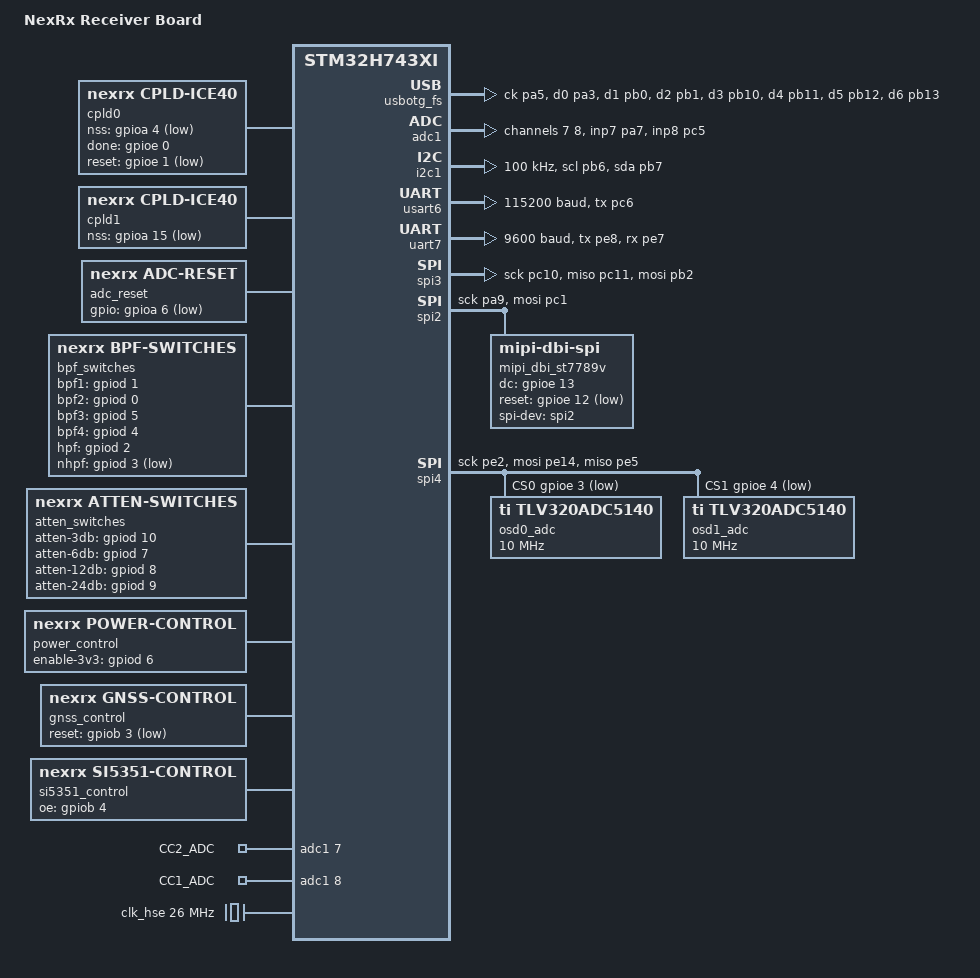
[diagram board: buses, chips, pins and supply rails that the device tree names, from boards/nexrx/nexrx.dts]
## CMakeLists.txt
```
# NexRx STM32H743VIT6 Firmware
# Using Zephyr RTOS with C++20

cmake_minimum_required(VERSION 3.20.0)

list(APPEND BOARD_ROOT ${CMAKE_CURRENT_SOURCE_DIR})

find_package(Zephyr REQUIRED HINTS $ENV{ZEPHYR_BASE})
project(NexRxFW)

# Enable C++20
set(CMAKE_CXX_STANDARD 20)
set(CMAKE_CXX_STANDARD_REQUIRED ON)

# Source files
target_sources(app PRIVATE 
    src/main.cpp
    src/AGCManager.cpp
    src/Si5351Driver.cpp
    src/CPLDDriver.cpp
    src/TLV320ADC5140.cpp
    src/DisplayManager.cpp
    src/FrontEndDriver.cpp
    src/USBManager.cpp
    src/OSDCapture.cpp
    src/ControlHandler.cpp
    src/USBCDCTransport.cpp
)

# Include directories
target_include_directories(app PRIVATE src)
```

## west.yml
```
manifest:
  remotes:
    - name: zephyrproject-rtos
      url-base: https://github.com/zephyrproject-rtos
  projects:
    - name: zephyr
      remote: zephyrproject-rtos
      revision: v4.4.0
      import: true
  self:
    path: fw
```

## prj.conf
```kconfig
# NexRx Project Configuration (Zephyr v4.1 / STM32H743VIT6)

# General C++ Support
CONFIG_CPP=y
CONFIG_STD_CPP20=y
CONFIG_EXTERNAL_LIBCPP=y
CONFIG_NEWLIB_LIBC=y

# Power Management & Boot
CONFIG_REBOOT=y

# Peripherals
CONFIG_GPIO=y
CONFIG_SPI=y
CONFIG_I2C=y
CONFIG_ADC=y
CONFIG_I2S=y
CONFIG_DMA=y
CONFIG_SERIAL=y
CONFIG_UART_INTERRUPT_DRIVEN=y
CONFIG_NET_BUF=y
CONFIG_USB_DEVICE_STACK_NEXT=y

# Display Support
CONFIG_DISPLAY=y
CONFIG_MIPI_DBI=y
CONFIG_ST7789V=y

# Logging & Debug
CONFIG_LOG=y
CONFIG_LOG_BUFFER_SIZE=4096
CONFIG_LOG_BACKEND_SHOW_COLOR=y
CONFIG_LOG_BACKEND_UART=y
CONFIG_LOG_PRINTK=y

# CBOR Support
CONFIG_ZCBOR=y

# Shell
CONFIG_SHELL=y
CONFIG_SHELL_BACKEND_SERIAL=y
CONFIG_SHELL_BACKEND_SERIAL_INTERRUPT_DRIVEN=y
CONFIG_SHELL_PROMPT_UART="NexRx> "
```

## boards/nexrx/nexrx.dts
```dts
/dts-v1/;
#include <st/h7/stm32h743Xi.dtsi>
#include <st/h7/stm32h743vitx-pinctrl.dtsi>
#include <zephyr/dt-bindings/mipi_dbi/mipi_dbi.h>

/ {
	model = "NexRx Receiver Board";
	compatible = "nexrx,nexrx-rx";

	chosen {
		zephyr,sram = &sram0;
		zephyr,flash = &flash0;
		zephyr,dtcm = &dtcm;
		zephyr,console = &usart6;
		zephyr,shell-uart = &usart6;
		zephyr,display = &st7789v;
		zephyr,udc0 = &usbotg_fs;
	};

	cpld0: cpld0 {
		compatible = "nexrx,cpld-ice40";
		nss-gpios = <&gpioa 4 GPIO_ACTIVE_LOW>;
		done-gpios = <&gpioe 0 GPIO_ACTIVE_HIGH>;
		reset-gpios = <&gpioe 1 GPIO_ACTIVE_LOW>;
		status = "okay";
	};

	cpld1: cpld1 {
		compatible = "nexrx,cpld-ice40";
		nss-gpios = <&gpioa 15 GPIO_ACTIVE_LOW>;
		status = "okay";
	};

	adc_reset: adc_reset {
		compatible = "nexrx,adc-reset";
		gpios = <&gpioa 6 GPIO_ACTIVE_LOW>;
		status = "okay";
	};

	bpf_switches: bpf_switches {
		compatible = "nexrx,bpf-switches";
		bpf1-gpios = <&gpiod 1 GPIO_ACTIVE_HIGH>;
		bpf2-gpios = <&gpiod 0 GPIO_ACTIVE_HIGH>;
		bpf3-gpios = <&gpiod 5 GPIO_ACTIVE_HIGH>;
		bpf4-gpios = <&gpiod 4 GPIO_ACTIVE_HIGH>;
		hpf-gpios = <&gpiod 2 GPIO_ACTIVE_HIGH>;
		nhpf-gpios = <&gpiod 3 GPIO_ACTIVE_LOW>;
		status = "okay";
	};

	atten_switches: atten_switches {
		compatible = "nexrx,atten-switches";
		atten-3db-gpios = <&gpiod 10 GPIO_ACTIVE_HIGH>;
		atten-6db-gpios = <&gpiod 7 GPIO_ACTIVE_HIGH>;
		atten-12db-gpios = <&gpiod 8 GPIO_ACTIVE_HIGH>;
		atten-24db-gpios = <&gpiod 9 GPIO_ACTIVE_HIGH>;
		status = "okay";
	};

	power_control: power_control {
		compatible = "nexrx,power-control";
		enable-3v3-gpios = <&gpiod 6 GPIO_ACTIVE_HIGH>;
		status = "okay";
	};

	status_leds: status_leds {
		compatible = "nexrx,status-leds";
		red-gpios = <&gpiob 9 GPIO_ACTIVE_LOW>;
		green-gpios = <&gpiob 8 GPIO_ACTIVE_LOW>;
		blue-gpios = <&gpioe 6 GPIO_ACTIVE_LOW>;
		status = "okay";
	};

	gnss_control: gnss_control {
		compatible = "nexrx,gnss-control";
		reset-gpios = <&gpiob 3 GPIO_ACTIVE_LOW>;
		status = "okay";
	};

	si5351_control: si5351_control {
		compatible = "nexrx,si5351-control";
		oe-gpios = <&gpiob 4 GPIO_ACTIVE_HIGH>;
		status = "okay";
	};

	zephyr,user {
		/* USB-C CC Monitor ADC Channels */
		io-channels = <&adc1 7>, <&adc1 8>;
		io-channel-names = "CC2_ADC", "CC1_ADC";
	};
};


&usbotg_fs {
	status = "okay";

	pinctrl-0 = <&usb_otg_hs_ulpi_ck_pa5 &usb_otg_hs_ulpi_d0_pa3
		     &usb_otg_hs_ulpi_d1_pb0 &usb_otg_hs_ulpi_d2_pb1
		     &usb_otg_hs_ulpi_d3_pb10 &usb_otg_hs_ulpi_d4_pb11
		     &usb_otg_hs_ulpi_d5_pb12 &usb_otg_hs_ulpi_d6_pb13
		     &usb_otg_hs_ulpi_d7_pb5 &usb_otg_hs_ulpi_dir_pc2_c
		     &usb_otg_hs_ulpi_nxt_pc3_c &usb_otg_hs_ulpi_stp_pc0>;
	pinctrl-names = "default";



	usb_device_0: usb_device_0 {
		compatible = "zephyr,usb-device";
		status = "okay";

		cdc_acm_uart0: cdc_acm_uart0 {
			compatible = "zephyr,cdc-acm-uart";
			label = "CDC_ACM_0";
		};

		cdc_acm_uart1: cdc_acm_uart1 {
			compatible = "zephyr,cdc-acm-uart";
			label = "CDC_ACM_1";
		};

		iq_data_pump: iq_data_pump {
			compatible = "zephyr,usb-vendor-bulk";
			status = "okay";
		};
	};
};

&adc1 {
	pinctrl-0 = <&adc1_inp7_pa7 &adc1_inp8_pc5>;
	pinctrl-names = "default";
	st,adc-clock-source = "SYNC";
	st,adc-prescaler = <4>;
	status = "okay";
	#address-cells = <1>;
	#size-cells = <0>;


	channel@7 {
		reg = <7>;
		zephyr,gain = "ADC_GAIN_1";
		zephyr,reference = "ADC_REF_INTERNAL";
		zephyr,acquisition-time = <ADC_ACQ_TIME_DEFAULT>;
		zephyr,resolution = <12>;
	};
	channel@8 {
		reg = <8>;
		zephyr,gain = "ADC_GAIN_1";
		zephyr,reference = "ADC_REF_INTERNAL";
		zephyr,acquisition-time = <ADC_ACQ_TIME_DEFAULT>;
		zephyr,resolution = <12>;
	};
};

&i2c1 {
	pinctrl-0 = <&i2c1_scl_pb6 &i2c1_sda_pb7>;
	pinctrl-names = "default";
	status = "okay";
	clock-frequency = <I2C_BITRATE_STANDARD>;
};

&clk_hse {
	clock-frequency = <DT_FREQ_M(26)>;
	status = "okay";
};

&pll {
	div-m = <13>;
	mul-n = <400>;
	div-p = <2>;
	div-q = <2>;
	div-r = <2>;
	clocks = <&clk_hse>;
	status = "okay";
};

&rcc {
	clocks = <&pll>;
	clock-frequency = <DT_FREQ_M(400)>;
	d1cpre = <1>;
	hpre = <2>;
	d1ppre = <2>;
	d2ppre2 = <2>;
	d2ppre1 = <2>;
	d3ppre = <2>;
};

&usart6 {
	pinctrl-0 = <&usart6_tx_pc6>;
	pinctrl-names = "default";
	current-speed = <115200>;
	status = "okay";
};

&uart7 {
	pinctrl-0 = <&uart7_tx_pe8 &uart7_rx_pe7>;
	pinctrl-names = "default";
	current-speed = <9600>;
	status = "okay";
};


&spi3 {
	pinctrl-0 = <&spi3_sck_pc10 &spi3_miso_pc11 &spi3_mosi_pb2>;
	pinctrl-names = "default";
	cs-gpios = <&gpioa 4 GPIO_ACTIVE_LOW>, <&gpioa 15 GPIO_ACTIVE_LOW>;
	status = "okay";
};

&spi2 {
	pinctrl-0 = <&spi2_sck_pa9 &spi2_mosi_pc1>;
	pinctrl-names = "default";
	cs-gpios = <&gpioa 11 GPIO_ACTIVE_LOW>;
	status = "okay";

	mipi_dbi_st7789v {
		compatible = "zephyr,mipi-dbi-spi";
		spi-dev = <&spi2>;
		dc-gpios = <&gpioe 13 GPIO_ACTIVE_HIGH>;
		reset-gpios = <&gpioe 12 GPIO_ACTIVE_LOW>;
		write-only;
		#address-cells = <1>;
		#size-cells = <0>;

		st7789v: st7789v@0 {
			compatible = "sitronix,st7789v";
			mipi-max-frequency = <32000000>;
			reg = <0>;
			width = <240>;
			height = <135>;
			x-offset = <0>;
			y-offset = <40>;
			vcom = <0x19>;
			gctrl = <0x35>;
			vrhs = <0x12>;
			vdvs = <0x20>;
			mdac = <0x00>;
			gamma = <0x01>;
			colmod = <0x05>;
			lcm = <0x2c>;
			porch-param = [0c 0c 00 33 33];
			cmd2en-param = [33 06 04];
			pwctrl1-param = [a4 a1];
			pvgam-param = [d0 04 0d 11 13 2b 3f 54 4c 18 0d 0b 1f 23];
			nvgam-param = [d0 04 0c 11 13 2c 3f 44 51 2f 1f 1f 20 23];
			ram-param = [00 f0];
			rgb-param = [cd 08 14];
			mipi-mode = "MIPI_DBI_MODE_SPI_4WIRE";
		};
	};
};

&spi4 {
	pinctrl-0 = <&spi4_sck_pe2 &spi4_mosi_pe14 &spi4_miso_pe5>;
	pinctrl-names = "default";
	cs-gpios = <&gpioe 3 GPIO_ACTIVE_LOW>, <&gpioe 4 GPIO_ACTIVE_LOW>;
	status = "okay";

	osd0_adc: tlv320adc5140@0 {
		compatible = "ti,tlv320adc5140";
		reg = <0>;
		spi-max-frequency = <10000000>;
	};

	osd1_adc: tlv320adc5140@1 {
		compatible = "ti,tlv320adc5140";
		reg = <1>;
		spi-max-frequency = <10000000>;
	};
};

&pwr {
	power-supply = "ldo";
};
```

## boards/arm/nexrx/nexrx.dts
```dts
/dts-v1/;
#include <st/h7/stm32h753Xi.dtsi>
#include <st/h7/stm32h753v(i-g)tx-pinctrl.dtsi>

/ {
	model = "NexRx Receiver Board";
	compatible = "nexrx,nexrx-rx";

	chosen {
		zephyr,sram = &sram0;
		zephyr,flash = &flash0;
		zephyr,dtcm = &dtcm;
		zephyr,console = &usart6;
		zephyr,shell-uart = &usart6;
		zephyr,display = &st7789v;
	};

	leds {
		compatible = "gpio-leds";
		pwr_3v3: pwr_3v3 {
			gpios = <&gpiod 6 GPIO_ACTIVE_HIGH>;
			label = "3.3V Digital Enable";
		};
		pwr_3va: pwr_3va {
			gpios = <&gpiod 7 GPIO_ACTIVE_HIGH>;
			label = "3.3V Analog Enable";
		};
		pwr_5va: pwr_5va {
			gpios = <&gpiod 8 GPIO_ACTIVE_HIGH>;
			label = "5V Analog Enable";
		};
		pwr_fpgacore: pwr_fpgacore {
			gpios = <&gpiod 9 GPIO_ACTIVE_HIGH>;
			label = "FPGA VCORE Enable";
		};
	};

	nexbus {
		compatible = "nexrx,nexbus";
		pinctrl-0 = <&tim3_ch1_pc6>;
		pinctrl-1 = <&usart6_tx_pc6>;
		pinctrl-names = "mode_a", "mode_b";
		status = "okay";
	};

	fpga {
		compatible = "nexrx,fpga-ice40";
		prog-gpios = <&gpioe 1 GPIO_ACTIVE_LOW>;
		done-gpios = <&gpioe 0 GPIO_ACTIVE_HIGH>;
		nss-gpios = <&gpioa 4 GPIO_ACTIVE_LOW>;
		status = "okay";
	};

	codec {
		compatible = "nexrx,ak5578";
		reset-gpios = <&gpioa 6 GPIO_ACTIVE_LOW>;
		status = "okay";
	};

	zephyr,user {
		/* USB-C CC Monitor ADC Channels */
		io-channels = <&adc1 7>, <&adc1 8>;
		io-channel-names = "CC2_ADC", "CC1_ADC";
	};
};

&zephyr_udc0 {
	status = "okay";
	pinctrl-0 = <&otg_hs_ulpi_ck_pa5 &otg_hs_ulpi_d0_pa3
		     &otg_hs_ulpi_d1_pb0 &otg_hs_ulpi_d2_pb1
		     &otg_hs_ulpi_d3_pb10 &otg_hs_ulpi_d4_pb11
		     &otg_hs_ulpi_d5_pb12 &otg_hs_ulpi_d6_pb13
		     &otg_hs_ulpi_d7_pb5 &otg_hs_ulpi_dir_pc2
		     &otg_hs_ulpi_nxt_pc3 &otg_hs_ulpi_stp_pc0>;
	pinctrl-names = "default";

	usb_device_0: usb_device_0 {
		compatible = "zephyr,usb-device";
		status = "okay";

		cdc_acm_uart0: cdc_acm_uart0 {
			compatible = "zephyr,cdc-acm-uart";
			label = "CDC_ACM_0";
		};

		cdc_acm_uart1: cdc_acm_uart1 {
			compatible = "zephyr,cdc-acm-uart";
			label = "CDC_ACM_1";
		};

		iq_data_pump: iq_data_pump {
			compatible = "zephyr,usb-vendor-bulk";
			status = "okay";
		};
	};
};

&adc1 {
	pinctrl-0 = <&adc1_inp7_pa7 &adc1_inp8_pc5>;
	pinctrl-names = "default";
	status = "okay";
	#address-cells = <1>;
	#size-cells = <0>;
	channel@7 {
		reg = <7>;
		zephyr,gain = "ADC_GAIN_1";
		zephyr,reference = "ADC_REF_INTERNAL";
		zephyr,acquisition-time = <ADC_ACQ_TIME_DEFAULT>;
		zephyr,resolution = <12>;
	};
	channel@8 {
		reg = <8>;
		zephyr,gain = "ADC_GAIN_1";
		zephyr,reference = "ADC_REF_INTERNAL";
		zephyr,acquisition-time = <ADC_ACQ_TIME_DEFAULT>;
		zephyr,resolution = <12>;
	};
};

&i2c4 {
	pinctrl-0 = <&i2c4_scl_pd12 &i2c4_sda_pd13>;
	pinctrl-names = "default";
	status = "okay";
	clock-frequency = <I2C_BITRATE_STANDARD>;
};

&clk_hse {
	clock-frequency = <DT_FREQ_M(26)>;
	status = "okay";
};

&pll {
	div-m = <13>;
	mul-n = <400>;
	div-p = <2>;
	div-q = <2>;
	div-r = <2>;
	clocks = <&clk_hse>;
	status = "okay";
};

&rcc {
	clocks = <&pll>;
	clock-frequency = <DT_FREQ_M(400)>;
	d1cpre = <1>;
	hpre = <2>;
	d1ppre = <2>;
	d2ppre2 = <2>;
	d2ppre1 = <2>;
	d3ppre = <2>;
};

&usart6 {
	pinctrl-0 = <&usart6_tx_pc6>;
	pinctrl-names = "default";
	current-speed = <115200>;
	status = "okay";
};

&tim3 {
	status = "okay";
	st,prescaler = <0>;
	pinctrl-0 = <&tim3_ch1_pc6>;
	pinctrl-names = "default";
	dmas = <&dma1 0 22 0x440>; 
	dma-names = "ch1";
	pwm1: pwm {
		status = "okay";
		st,prescaler = <0>;
	};
};

&spi3 {
	pinctrl-0 = <&spi3_sck_pc10 &spi3_miso_pc11 &spi3_mosi_pb2>;
	pinctrl-names = "default";
	status = "okay";
};

&spi2 {
	pinctrl-0 = <&spi2_sck_pa9 &spi2_mosi_pc1>;
	pinctrl-names = "default";
	cs-gpios = <&gpioa 11 GPIO_ACTIVE_LOW>;
	status = "okay";

	st7789v: st7789v@0 {
		compatible = "sitronix,st7789v";
		reg = <0>;
		spi-max-frequency = <32000000>;
		reset-gpios = <&gpioe 12 GPIO_ACTIVE_LOW>;
		dc-gpios = <&gpioe 13 GPIO_ACTIVE_LOW>;
		width = <240>;
		height = <135>;
		x-offset = <0>;
		y-offset = <40>;
		vcom = <0x19>;
		gctrl = <0x35>;
		vrhs = <0x12>;
		vdvs = <0x20>;
		mdac = <0x00>;
		gamma = <0x01>;
		colmod = <0x05>;
		lcm = <0x2c>;
		porch-param = [0c 0c 00 33 33];
		cmd2en-param = [33 06 04];
		pwctrl1-param = [a4 a1];
		pvgam-param = [d0 04 0d 11 13 2b 3f 54 4c 18 0d 0b 1f 23];
		nvgam-param = [d0 04 0c 11 13 2c 3f 44 51 2f 1f 1f 20 23];
		ram-param = [00 f0];
		rgb-param = [cd 08 14];
	};
};

&spi4 {
	pinctrl-0 = <&spi4_sck_pe2 &spi4_mosi_pe14>;
	pinctrl-names = "default";
	cs-gpios = <&gpioe 4 GPIO_ACTIVE_LOW>;
	status = "okay";
};

&sai3 {
	status = "okay";
	pinctrl-0 = <&sai3_a_mclk_pd15 &sai3_a_sck_pd0 
		     &sai3_a_fs_pd4 &sai3_a_sd_pd1>;
	pinctrl-names = "default";
	sai3_a: sai3_a {
		status = "okay";
		st,sync-type = "master";
		dmas = <&dma1 1 89 0x440>; 
		dma-names = "rx";
	};
};

&sai2 {
	status = "okay";
	pinctrl-0 = <&sai2_a_sd_pd11 &sai2_b_sd_pa0>;
	pinctrl-names = "default";
	sai2_a: sai2_a {
		status = "okay";
		st,sync-type = "slave";
		st,sync-source = <&sai3_a>;
		dmas = <&dma1 2 87 0x440>; 
		dma-names = "rx";
	};
	sai2_b: sai2_b {
		status = "okay";
		st,sync-type = "slave";
		st,sync-source = <&sai3_a>;
		dmas = <&dma1 3 88 0x440>; 
		dma-names = "rx";
	};
};

&sai4 {
	status = "okay";
	pinctrl-0 = <&sai4_a_sd_pe6>;
	pinctrl-names = "default";
	sai4_a: sai4_a {
		status = "okay";
		st,sync-type = "slave";
		st,sync-source = <&sai3_a>;
		dmas = <&dma1 4 102 0x440>; 
		dma-names = "rx";
	};
};
```

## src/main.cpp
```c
#include <zephyr/kernel.h>
#include <zephyr/logging/log.h>

#include "FrontEndDriver.hpp"
#include "Si5351Driver.hpp"
#include "CPLDDriver.hpp"
#include "TLV320ADC5140.hpp"
#include "DisplayManager.hpp"
#include "USBManager.hpp"
#include "OSDCapture.hpp"
#include "ControlHandler.hpp"
#include "USBCDCTransport.hpp"

LOG_MODULE_REGISTER(nexrx_main, LOG_LEVEL_INF);

int main() {
  /* 1. Initialize USB Connectivity First for Logging */
  nexrx::USBManager::init();
  LOG_INF("NexRx MCU Firmware Starting (STM32H743VIT6 / STM32H753VIT6)...");

  /* 2. Initialize Display Early for Status Feedback */
  nexrx::DisplayManager::init();
  nexrx::DisplayManager::showStatus("BOOTING...");

  /* 3. Initialize Front-End Switches (Attenuators, BPF, 3.3V Power) */
  nexrx::FrontEndDriver::init();

  /* 4. Initialize Synthesizer and Dual CPLDs */
  nexrx::Si5351Driver::init();
  nexrx::CPLDDriver::init();

  /* 5. Configure Dual TLV320ADC5140 Audio ADCs with Integrated PGAs */
  nexrx::TLV320ADC5140::init();

  /* 6. Initialize OSD Audio DMA Data Capture & DSP Engine */
  nexrx::OSDCapture::init();

  /* 7. Initialize Control Plane Transport */
  static nexrx::USBCDCTransport controlTransport;
  controlTransport.init();

  LOG_INF("System Initialization Complete. Automatic power hardware ready.");
  if (nexrx::CPLDDriver::isConfigured()) {
    nexrx::DisplayManager::showStatus("READY");
  } else {
    nexrx::DisplayManager::showStatus("WAIT CPLD");
  }

  while (true) {
    /* Process incoming control messages */
    nexrx::ControlHandler::instance().process(controlTransport);
    k_sleep(K_MSEC(10));
  }

  return 0;
}
```

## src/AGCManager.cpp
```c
#include "AGCManager.hpp"
#include <zephyr/logging/log.h>
#include <cmath>
#include <algorithm>
#include "TLV320ADC5140.hpp"
#include "FrontEndDriver.hpp"

LOG_MODULE_DECLARE(nexrx_main, LOG_LEVEL_INF);

namespace nexrx {

AGCManager::Mode AGCManager::currentMode = Mode::MANUAL;
float AGCManager::targetHeadroomDB = -15.0f;
int32_t AGCManager::currentPGACode = 0;
int32_t AGCManager::currentAttenDB = 0;

/* Internal Gain State (in dB) */
static float virtualGainDB = 0.0f;
static float lastPeakDB = -100.0f;

void AGCManager::init() {
  currentMode = Mode::MANUAL;
  virtualGainDB = 20.0f; /* Start with baseline gain */
  applyHardwareGain();
}

void AGCManager::setMode(Mode mode) {
  currentMode = mode;
  LOG_INF("AGC: Mode set to %d", static_cast<int>(mode));
}

void AGCManager::processReflex(int32_t peakValue) {
  if (currentMode == Mode::MANUAL) {
    return;
  }

  /* 1. Convert peak to dBFS */
  float peakDB = 20.0f * std::log10(std::max(1, std::abs(peakValue)) / 8388607.0f);
  lastPeakDB = peakDB;

  /* 2. Calculate Error relative to target headroom */
  float error = peakDB - targetHeadroomDB;

  /* 3. Apply Attack/Decay Timing */
  if (error > 0) {
    /* ATTACK: Drop gain fast */
    virtualGainDB -= error * 0.5f; 
  } else {
    /* DECAY: Increase gain slowly based on mode */
    float decayFactor = 0.001f;
    if (currentMode == Mode::FAST) {
      decayFactor = 0.05f;
    }
    if (currentMode == Mode::MEDIUM) {
      decayFactor = 0.01f;
    }
    virtualGainDB -= error * decayFactor;
  }

  /* 4. Clamp to hardware limits */
  virtualGainDB = std::clamp(virtualGainDB, 0.0f, 60.0f);

  /* 5. Update Hardware if change is significant (> 0.5 dB) */
  static float lastAppliedGain = -1.0f;
  if (std::abs(virtualGainDB - lastAppliedGain) > 0.5f) {
    setTotalGain(virtualGainDB);
    lastAppliedGain = virtualGainDB;
  }
}

void AGCManager::setTotalGain(float totalGainDB) {
  int32_t newAtten = static_cast<int32_t>(std::floor(totalGainDB / 3.0f) * 3.0f);
  newAtten = std::clamp(newAtten, 0, 45);

  int32_t newPGA = static_cast<int32_t>(totalGainDB - newAtten);
  newPGA = std::clamp(newPGA, 0, 42);

  currentAttenDB = newAtten;
  currentPGACode = newPGA;
  
  applyHardwareGain();
}

void AGCManager::applyHardwareGain() {
  FrontEndDriver::setAttenuation(currentAttenDB);
  TLV320ADC5140::setPGAGain(static_cast<uint8_t>(currentPGACode));
}

} // namespace nexrx
```

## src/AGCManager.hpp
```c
#pragma once

#include <zephyr/kernel.h>
#include <stdint.h>

namespace nexrx {

class AGCManager {
public:
  enum class Mode {
    FAST,
    MEDIUM,
    SLOW,
    MANUAL
  };

  static void init();
  static void setMode(Mode mode);
  
  /**
   * @brief High-priority reflex update.
   * Called by the QSDCapture thread after peak detection.
   * @param peakValue Maximum absolute value in the current buffer.
   */
  static void processReflex(int32_t peakValue);

  /**
   * @brief Sets total system gain in dB.
   * Internal logic coordinates attenuator pads and TLV320ADC5140 PGA gain.
   * @param totalGainDB Total gain relative to MDS.
   */
  static void setTotalGain(float totalGainDB);

private:
  static Mode currentMode;
  static float targetHeadroomDB; /* Default -15.0 dBFS */
  static int32_t currentPGACode;
  static int32_t currentAttenDB;

  static void applyHardwareGain();
};

} // namespace nexrx
```

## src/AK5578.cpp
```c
#include "AK5578.hpp"
#include <zephyr/logging/log.h>

LOG_MODULE_REGISTER(AK5578, LOG_LEVEL_INF);

namespace nexrx {

void AK5578::init() {
  LOG_INF("AK5578 8-Channel 24-bit 96kS/s Audio Codec initialized.");
}

void AK5578::reset() {
  LOG_INF("AK5578 reset performed.");
}

} // namespace nexrx
```

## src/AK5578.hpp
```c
#ifndef NEXRX_AK5578_HPP
#define NEXRX_AK5578_HPP

#include <zephyr/kernel.h>
#include <stdint.h>

namespace nexrx {

class AK5578 {
public:
  static void init();
  static void reset();
};

} // namespace nexrx

#endif // NEXRX_AK5578_HPP
```

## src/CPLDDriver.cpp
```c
#include "CPLDDriver.hpp"
#include <zephyr/logging/log.h>
#include <zephyr/drivers/gpio.h>
#include <zephyr/drivers/spi.h>

LOG_MODULE_REGISTER(cpld_driver, LOG_LEVEL_INF);

namespace nexrx {

namespace {

const struct gpio_dt_spec resetGpio = GPIO_DT_SPEC_GET_OR(DT_NODELABEL(cpld0), reset_gpios, {0});
const struct gpio_dt_spec doneGpio = GPIO_DT_SPEC_GET_OR(DT_NODELABEL(cpld0), done_gpios, {0});
const struct gpio_dt_spec nss0Gpio = GPIO_DT_SPEC_GET_OR(DT_NODELABEL(cpld0), nss_gpios, {0});
const struct gpio_dt_spec nss1Gpio = GPIO_DT_SPEC_GET_OR(DT_NODELABEL(cpld1), nss_gpios, {0});

} // namespace

const struct device* CPLDDriver::getSPIDevice() {
  static const struct device* dev = DEVICE_DT_GET(DT_NODELABEL(spi3));
  return dev;
}

int CPLDDriver::writeRegister(uint8_t addr, uint32_t data, int cpldIndex) {
  const struct device* dev = getSPIDevice();
  if (!device_is_ready(dev)) {
    return -ENODEV;
  }
  uint8_t txBuf[5] = {
    addr,
    static_cast<uint8_t>((data >> 24) & 0xFF),
    static_cast<uint8_t>((data >> 16) & 0xFF),
    static_cast<uint8_t>((data >> 8) & 0xFF),
    static_cast<uint8_t>(data & 0xFF)
  };
  struct spi_buf buf = {.buf = txBuf, .len = sizeof(txBuf)};
  struct spi_buf_set tx = {.buffers = &buf, .count = 1};

  struct spi_config config = {
    .frequency = 10000000,
    .slave = static_cast<uint16_t>((cpldIndex >= 0) ? cpldIndex : 0),
  };

  if (cpldIndex < 0) {
    // Broadcast to both CPLDs simultaneously
    if (device_is_ready(nss0Gpio.port)) gpio_pin_set_dt(&nss0Gpio, 1);
    if (device_is_ready(nss1Gpio.port)) gpio_pin_set_dt(&nss1Gpio, 1);
    int ret = spi_write(dev, &config, &tx);
    if (device_is_ready(nss0Gpio.port)) gpio_pin_set_dt(&nss0Gpio, 0);
    if (device_is_ready(nss1Gpio.port)) gpio_pin_set_dt(&nss1Gpio, 0);
    return ret;
  }

  return spi_write(dev, &config, &tx);
}

int CPLDDriver::readRegister(uint8_t addr, uint32_t &data, int cpldIndex) {
  const struct device* dev = getSPIDevice();
  if (!device_is_ready(dev)) {
    return -ENODEV;
  }
  uint8_t txBuf[5] = {static_cast<uint8_t>(addr | 0x80), 0, 0, 0, 0};
  uint8_t rxBuf[5] = {0};

  struct spi_buf txStruct = {.buf = txBuf, .len = sizeof(txBuf)};
  struct spi_buf rxStruct = {.buf = rxBuf, .len = sizeof(rxBuf)};
  struct spi_buf_set tx = {.buffers = &txStruct, .count = 1};
  struct spi_buf_set rx = {.buffers = &rxStruct, .count = 1};

  struct spi_config config = {
    .frequency = 10000000,
    .operation = SPI_OP_MODE_MASTER | SPI_TRANSFER_MSB | SPI_WORD_SET(8),
    .slave = static_cast<uint16_t>(cpldIndex),
  };

  int ret = spi_transceive(dev, &config, &tx, &rx);
  if (ret == 0) {
    data = (static_cast<uint32_t>(rxBuf[1]) << 24) |
           (static_cast<uint32_t>(rxBuf[2]) << 16) |
           (static_cast<uint32_t>(rxBuf[3]) << 8)  |
           (static_cast<uint32_t>(rxBuf[4]));
  }
  return ret;
}

void CPLDDriver::init() {
  LOG_INF("Initializing Dual CPLD Interface...");
  if (device_is_ready(resetGpio.port)) {
    gpio_pin_configure_dt(&resetGpio, GPIO_OUTPUT_INACTIVE);
  }
  if (device_is_ready(doneGpio.port)) {
    gpio_pin_configure_dt(&doneGpio, GPIO_INPUT);
  }
  if (device_is_ready(nss0Gpio.port)) {
    gpio_pin_configure_dt(&nss0Gpio, GPIO_OUTPUT_INACTIVE);
  }
  if (device_is_ready(nss1Gpio.port)) {
    gpio_pin_configure_dt(&nss1Gpio, GPIO_OUTPUT_INACTIVE);
  }

  if (isConfigured()) {
    LOG_INF("CPLD already configured, validating signatures...");
    readBothSignatures();
  } else {
    LOG_INF("CPLDs unconfigured. Awaiting host bitstream upload.");
  }
}

bool CPLDDriver::isConfigured() {
  if (device_is_ready(doneGpio.port)) {
    return (gpio_pin_get_dt(&doneGpio) > 0);
  }
  return false;
}

bool CPLDDriver::programBitstream(const uint8_t* data, size_t length) {
  if (!data || length == 0) {
    LOG_ERR("CPLD Program: Invalid bitstream data");
    return false;
  }

  const struct device* spiDev = getSPIDevice();
  if (!device_is_ready(spiDev)) {
    LOG_ERR("CPLD Program: SPI3 device not ready");
    return false;
  }

  LOG_INF("CPLD Program: Starting slave SPI configuration (%u bytes)...", static_cast<unsigned int>(length));

  // 1. Enter Configuration Mode: Pulse CRESET low
  gpio_pin_set_dt(&resetGpio, 1); // Active low asserted
  gpio_pin_set_dt(&nss0Gpio, 1);  // Hold both NSS low
  gpio_pin_set_dt(&nss1Gpio, 1);
  k_busy_wait(500); // 500 us reset pulse

  // 2. Release CRESET while keeping NSS low
  gpio_pin_set_dt(&resetGpio, 0); // Active low deasserted
  k_busy_wait(1500); // Wait > 1200 us for internal housekeeping / RAM clear

  // 3. Stream bitstream over SPI3 simultaneously to both CPLDs
  struct spi_config config = {
    .frequency = 10000000, // 10 MHz
    .operation = SPI_OP_MODE_MASTER | SPI_TRANSFER_MSB | SPI_WORD_SET(8),
    .slave = 0,
  };

  struct spi_buf txBuf = { .buf = const_cast<uint8_t*>(data), .len = length };
  struct spi_buf_set txSet = { .buffers = &txBuf, .count = 1 };
  int ret = spi_write(spiDev, &config, &txSet);
  if (ret != 0) {
    LOG_ERR("CPLD Program: SPI write failed (%d)", ret);
    return false;
  }

  // 4. Send dummy clocks (16 bytes = 128 clock cycles) while monitoring DONE
  uint8_t dummy[16] = {0};
  struct spi_buf dummyBuf = { .buf = dummy, .len = sizeof(dummy) };
  struct spi_buf_set dummySet = { .buffers = &dummyBuf, .count = 1 };
  spi_write(spiDev, &config, &dummySet);

  // 5. Deassert chip selects high to transition CPLDs to user mode
  gpio_pin_set_dt(&nss0Gpio, 0);
  gpio_pin_set_dt(&nss1Gpio, 0);
  k_sleep(K_MSEC(2));

  // 6. Check DONE pin
  bool done = isConfigured();
  if (!done) {
    LOG_ERR("CPLD Program: DONE pin did not assert!");
    return false;
  }

  LOG_INF("CPLD Program: DONE asserted successfully.");

  // 7. Validate user register signatures on both CPLDs
  return readBothSignatures();
}

bool CPLDDriver::readSignature(int cpldIndex) {
  uint32_t sig = 0;
  if (readRegister(regSig, sig, cpldIndex) == 0) {
    if (sig == expectedSig) {
      LOG_INF("CPLD %d Signature Validated: 0x%08X (NxRx)", cpldIndex, sig);
      return true;
    }
    LOG_WRN("CPLD %d Signature Mismatch: 0x%08X (Expected 0x%08X)", cpldIndex, sig, expectedSig);
  }
  return false;
}

bool CPLDDriver::readBothSignatures() {
  bool ok0 = readSignature(0);
  bool ok1 = readSignature(1);
  return (ok0 && ok1);
}

void CPLDDriver::setClockMode(bool isFourPhase) {
  uint32_t ctrl = isFourPhase ? 0x01 : 0x00;
  LOG_INF("Setting CPLD Clock Mode: %s", isFourPhase ? "4-Phase QSD" : "8-Phase OSD");
  writeRegister(regControl, ctrl, -1); // Broadcast to both CPLDs
}

uint64_t CPLDDriver::getLatchedTCXOCount(int cpldIndex) {
  uint32_t hi = 0, lo = 0;
  readRegister(regPPSLatchHi, hi, cpldIndex);
  readRegister(regPPSLatchLo, lo, cpldIndex);
  return (static_cast<uint64_t>(hi) << 32) | lo;
}

} // namespace nexrx
```

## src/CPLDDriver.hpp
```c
#pragma once

#include <stdint.h>
#include <zephyr/kernel.h>
#include <zephyr/drivers/spi.h>

namespace nexrx {

class CPLDDriver {
public:
  /* Register Addresses */
  static constexpr uint8_t regControl     = 0x00;
  static constexpr uint8_t regPPSLatchHi  = 0x01;
  static constexpr uint8_t regPPSLatchLo  = 0x02;
  static constexpr uint8_t regSig         = 0x7F;

  static constexpr uint32_t expectedSig   = 0x4E785278; /* "NxRx" */

  static void init();
  static bool isConfigured();
  static bool programBitstream(const uint8_t* data, size_t length);
  static bool readSignature(int cpldIndex = 0);
  static bool readBothSignatures();
  static void setClockMode(bool isFourPhase);
  static uint64_t getLatchedTCXOCount(int cpldIndex = 0);

private:
  static const struct device* getSPIDevice();
  static int writeRegister(uint8_t addr, uint32_t data, int cpldIndex = -1);
  static int readRegister(uint8_t addr, uint32_t &data, int cpldIndex = 0);
};

} // namespace nexrx
```

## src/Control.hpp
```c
#pragma once

#include <stdint.h>

namespace nexrx {

/* Helper to convert 4-character strings to uint32_t at compile time */
static constexpr uint32_t makeControlId(const char s[5]) {
  return (static_cast<uint32_t>(s[0]) << 24) |
         (static_cast<uint32_t>(s[1]) << 16) |
         (static_cast<uint32_t>(s[2]) << 8)  |
         (static_cast<uint32_t>(s[3]));
}

class Control {
public:
  /* Command IDs */
  static constexpr uint32_t CMD_SET_VFO         = makeControlId("SVFO");
  static constexpr uint32_t CMD_SET_ATTEN       = makeControlId("SATT");
  static constexpr uint32_t CMD_SET_PGA_GAIN    = makeControlId("SPGA");
  static constexpr uint32_t CMD_SET_AGC_MODE    = makeControlId("SAGC");
  static constexpr uint32_t CMD_SET_TR_MODE     = makeControlId("STRM");
  static constexpr uint32_t CMD_START_STREAM    = makeControlId("STM[");
  static constexpr uint32_t CMD_STOP_STREAM     = makeControlId("]STM");
  static constexpr uint32_t CMD_GET_TIMESTAMP   = makeControlId("GTIM");
  static constexpr uint32_t CMD_SET_ISG_FREQ    = makeControlId("SIFQ");
  static constexpr uint32_t CMD_SET_ISG_ENABLE  = makeControlId("SIEN");
  static constexpr uint32_t CMD_SET_HPF_BYPASS  = makeControlId("SHPB");
  static constexpr uint32_t CMD_SET_BPF_SELECT  = makeControlId("SBPF");
  static constexpr uint32_t CMD_GET_STATE       = makeControlId("GSTA");
  static constexpr uint32_t CMD_CAL_STIM        = makeControlId("CAL!");
  static constexpr uint32_t CMD_GBYE            = makeControlId("GBYE");
  static constexpr uint32_t CMD_GET_VERSION     = makeControlId("GVER");
  static constexpr uint32_t CMD_LOAD_CPLD       = makeControlId("LCPL");

  /* Firmware and Protocol Version Constants */
  static constexpr uint16_t FW_VERSION_MAJOR    = 1;
  static constexpr uint16_t FW_VERSION_MINOR    = 0;
  static constexpr uint16_t FW_VERSION_PATCH    = 0;
  static constexpr uint32_t FW_PROTOCOL_MAGIC   = 0x4E585258; /* "NXRX" */

  /* Hardware Operational States */
  static constexpr uint32_t STATE_BOOTING          = 0;
  static constexpr uint32_t STATE_WAIT_CPLD_IMAGE  = 1;
  static constexpr uint32_t STATE_READY            = 2;
  static constexpr uint32_t STATE_STREAMING        = 3;
  static constexpr uint32_t STATE_ERROR            = 4;
};

} // namespace nexrx
```

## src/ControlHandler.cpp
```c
#include "ControlHandler.hpp"
#include "Control.hpp"
#include <zephyr/logging/log.h>
#include <zcbor_decode.h>
#include <zcbor_encode.h>
#include <cmath>

#include "TLV320ADC5140.hpp"
#include "Si5351Driver.hpp"
#include "CPLDDriver.hpp"
#include "FrontEndDriver.hpp"
#include "OSDCapture.hpp"
#include "DisplayManager.hpp"
#include "AGCManager.hpp"

LOG_MODULE_DECLARE(nexrx_main, LOG_LEVEL_INF);

namespace nexrx {

static constexpr double freqBoundary15MHz = 15000000.0;

/* Active waterfall viewport state for hysteresis evaluation */
static double currentViewportMinHz = 14000000.0;
static double currentViewportMaxHz = 14350000.0;
static bool currentFourPhaseMode = false;
static uint32_t currentVFOFreqHz = 14200000;
static uint32_t currentVFOOffsetHz = 12000;

ControlHandler& ControlHandler::instance() {
  static ControlHandler inst;
  return inst;
}

static void updateClockModeHysteresis(double minHz, double maxHz) {
  currentViewportMinHz = minHz;
  currentViewportMaxHz = maxHz;

  if (currentViewportMinHz > freqBoundary15MHz) {
    if (!currentFourPhaseMode) {
      currentFourPhaseMode = true;
      CPLDDriver::setClockMode(true); /* Switch to 4-phase QSD mode */
      OSDCapture::setFourPhaseMode(true);
      LOG_INF("Waterfall strictly above 15MHz: Switched CPLD & DSP to 4-phase QSD mode.");
    }
  } else if (currentViewportMaxHz < freqBoundary15MHz) {
    if (currentFourPhaseMode) {
      currentFourPhaseMode = false;
      CPLDDriver::setClockMode(false); /* Switch to 8-phase OSD mode */
      OSDCapture::setFourPhaseMode(false);
      LOG_INF("Waterfall strictly below 15MHz: Switched CPLD & DSP to 8-phase OSD mode.");
    }
  } else {
    LOG_INF("Waterfall spans 15MHz boundary: Preserved active mode (%s).",
            currentFourPhaseMode ? "4-phase" : "8-phase");
  }
}

static void sendSuccessResponse(ITransport& transport) {
  uint8_t outBuf[16];
  zcbor_state_t encState[2];
  zcbor_new_encode_state(encState, 2, outBuf, sizeof(outBuf), 1);
  zcbor_list_start_encode(encState, 10);
  zcbor_int32_put(encState, 0);
  zcbor_list_end_encode(encState, 10);
  transport.send(outBuf, encState->payload - outBuf);
}

static void sendVersionResponse(ITransport& transport) {
  uint8_t outBuf[64];
  zcbor_state_t encState[2];
  zcbor_new_encode_state(encState, 2, outBuf, sizeof(outBuf), 1);

  uint32_t hwState = CPLDDriver::isConfigured() ? Control::STATE_READY : Control::STATE_WAIT_CPLD_IMAGE;

  zcbor_list_start_encode(encState, 10);
  zcbor_int32_put(encState, 0); // Status OK
  zcbor_uint32_put(encState, Control::FW_PROTOCOL_MAGIC);
  zcbor_uint32_put(encState, Control::FW_VERSION_MAJOR);
  zcbor_uint32_put(encState, Control::FW_VERSION_MINOR);
  zcbor_uint32_put(encState, Control::FW_VERSION_PATCH);
  zcbor_uint32_put(encState, hwState);
  zcbor_list_end_encode(encState, 10);

  transport.send(outBuf, encState->payload - outBuf);
}

static void sendStateResponse(ITransport& transport) {
  uint8_t outBuf[64];
  zcbor_state_t encState[2];
  zcbor_new_encode_state(encState, 2, outBuf, sizeof(outBuf), 1);

  uint32_t hwState = CPLDDriver::isConfigured() ? Control::STATE_READY : Control::STATE_WAIT_CPLD_IMAGE;
  uint64_t tcxoCount = CPLDDriver::getLatchedTCXOCount(0);

  zcbor_list_start_encode(encState, 10);
  zcbor_int32_put(encState, 0); // Status OK
  zcbor_uint32_put(encState, hwState);
  zcbor_int32_put(encState, FrontEndDriver::getAttenuation());
  zcbor_int32_put(encState, FrontEndDriver::getBpfIndex());
  zcbor_bool_put(encState, FrontEndDriver::isHpfBypassed());
  zcbor_bool_put(encState, currentFourPhaseMode);
  zcbor_uint64_put(encState, tcxoCount);
  zcbor_list_end_encode(encState, 10);

  transport.send(outBuf, encState->payload - outBuf);
}

void ControlHandler::process(ITransport& transport) {
  static uint8_t buf[8192]; // Supports full ~7.1 KB CPLD bitstream in single CBOR payload
  int len = transport.receive(buf, sizeof(buf));
  if (len < 1) return;

  zcbor_state_t state[4];
  zcbor_new_decode_state(state, 4, buf, len, 1, nullptr, 0);
  if (!zcbor_list_start_decode(state)) return;

  uint32_t cmdID = 0;
  if (!zcbor_uint32_decode(state, &cmdID)) return;

  bool handled = false;

  switch (cmdID) {
    case Control::CMD_GET_VERSION: {
      sendVersionResponse(transport);
      handled = false; // Response already sent
      break;
    }

    case Control::CMD_GET_STATE: {
      sendStateResponse(transport);
      handled = false; // Response already sent
      break;
    }

    case Control::CMD_LOAD_CPLD: {
      struct zcbor_string bitstreamPayload;
      if (zcbor_bstr_decode(state, &bitstreamPayload)) {
        LOG_INF("Control: Received CPLD Bitstream (%u bytes). Programming...",
                static_cast<unsigned int>(bitstreamPayload.len));
        bool ok = CPLDDriver::programBitstream(bitstreamPayload.value, bitstreamPayload.len);
        if (ok) {
          DisplayManager::showStatus("READY");
          handled = true;
        } else {
          DisplayManager::showStatus("CPLD ERR");
          LOG_ERR("Control: CPLD Programming Failed!");
        }
      }
      break;
    }

    case Control::CMD_START_STREAM: {
      OSDCapture::start();
      LOG_INF("Control: Streaming started.");
      handled = true;
      break;
    }

    case Control::CMD_STOP_STREAM: {
      OSDCapture::stop();
      LOG_INF("Control: Streaming stopped.");
      handled = true;
      break;
    }

    case Control::CMD_SET_VFO: {
      double freq = 0.0, offset = 12000.0, spanHz = 384000.0;
      if (zcbor_float_decode(state, &freq)) {
        zcbor_float_decode(state, &offset);
        zcbor_float_decode(state, &spanHz);

        currentVFOFreqHz = static_cast<uint32_t>(freq);
        currentVFOOffsetHz = static_cast<uint32_t>(offset);

        double minHz = freq - (spanHz / 2.0);
        double maxHz = freq + (spanHz / 2.0);
        updateClockModeHysteresis(minHz, maxHz);

        FrontEndDriver::selectFilterBand(currentVFOFreqHz);
        Si5351Driver::setVFOFrequency(currentVFOFreqHz, currentVFOOffsetHz, currentFourPhaseMode);
        handled = true;
      }
      break;
    }

    case Control::CMD_SET_ATTEN: {
      int32_t db = 0;
      if (zcbor_int32_decode(state, &db)) {
        FrontEndDriver::setAttenuation(db);
        handled = true;
      }
      break;
    }

    case Control::CMD_SET_BPF_SELECT: {
      int32_t bpfIndex = 0;
      if (zcbor_int32_decode(state, &bpfIndex)) {
        FrontEndDriver::setBpfIndex(bpfIndex);
        handled = true;
      }
      break;
    }

    case Control::CMD_SET_HPF_BYPASS: {
      bool bypass = false;
      if (zcbor_bool_decode(state, &bypass)) {
        FrontEndDriver::setHpfBypass(bypass);
        handled = true;
      }
      break;
    }

    case Control::CMD_SET_PGA_GAIN: {
      int32_t code = 0;
      if (zcbor_int32_decode(state, &code)) {
        TLV320ADC5140::setPGAGain(static_cast<uint8_t>(code));
        handled = true;
      }
      break;
    }

    case Control::CMD_SET_AGC_MODE: {
      int32_t mode = 0;
      if (zcbor_int32_decode(state, &mode)) {
        AGCManager::setMode(static_cast<AGCManager::Mode>(mode));
        handled = true;
      }
      break;
    }

    default:
      LOG_WRN("Control: Unknown command 0x%08X", cmdID);
      break;
  }

  if (handled) {
    sendSuccessResponse(transport);
  }

  zcbor_list_end_decode(state);
}

} // namespace nexrx
```

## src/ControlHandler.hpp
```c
#pragma once

#include <zephyr/kernel.h>
#include <stdint.h>

namespace nexrx {

class ITransport {
public:
  virtual ~ITransport() = default;
  virtual int send(const uint8_t* data, size_t len) = 0;
  virtual int receive(uint8_t* data, size_t maxLen) = 0;
};

class ControlHandler {
public:
  static ControlHandler& instance();
  void process(ITransport& transport);

private:
  ControlHandler() = default;
};

} // namespace nexrx
```

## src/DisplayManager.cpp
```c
#include "DisplayManager.hpp"
#include <zephyr/device.h>
#include <zephyr/logging/log.h>

LOG_MODULE_DECLARE(nexrx_main, LOG_LEVEL_INF);

namespace nexrx {

const struct device* DisplayManager::displayDev = NULL;

void DisplayManager::init() {
  displayDev = DEVICE_DT_GET(DT_NODELABEL(st7789v));

  if (!device_is_ready(displayDev)) {
    LOG_ERR("Display: ST7789V not ready");
    return;
  }

  LOG_INF("Display: ST7789V initialized (240x135)");
  
  display_blanking_off(displayDev);
  clear();
  drawSplash();
}

void DisplayManager::clear() {
  /* TODO: Use display_write to fill screen with black */
  LOG_INF("Display: Screen cleared");
}

void DisplayManager::showStatus(const char* status) {
  /* TODO: Render text string to display */
  LOG_INF("Display Status: %s", status);
}

void DisplayManager::drawSplash() {
  /* TODO: Draw NexRx logo or splash screen */
  LOG_INF("Display: Splash screen drawn");
}

} // namespace nexrx
```

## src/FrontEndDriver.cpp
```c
#include "FrontEndDriver.hpp"
#include <zephyr/logging/log.h>
#include <algorithm>

LOG_MODULE_REGISTER(frontend_driver, LOG_LEVEL_INF);

namespace nexrx {

namespace {

const struct gpio_dt_spec atten3Gpio  = GPIO_DT_SPEC_GET_OR(DT_NODELABEL(atten_switches), atten_3db_gpios, {0});
const struct gpio_dt_spec atten6Gpio  = GPIO_DT_SPEC_GET_OR(DT_NODELABEL(atten_switches), atten_6db_gpios, {0});
const struct gpio_dt_spec atten12Gpio = GPIO_DT_SPEC_GET_OR(DT_NODELABEL(atten_switches), atten_12db_gpios, {0});
const struct gpio_dt_spec atten24Gpio = GPIO_DT_SPEC_GET_OR(DT_NODELABEL(atten_switches), atten_24db_gpios, {0});

const struct gpio_dt_spec bpf1Gpio = GPIO_DT_SPEC_GET_OR(DT_NODELABEL(bpf_switches), bpf1_gpios, {0});
const struct gpio_dt_spec bpf2Gpio = GPIO_DT_SPEC_GET_OR(DT_NODELABEL(bpf_switches), bpf2_gpios, {0});
const struct gpio_dt_spec bpf3Gpio = GPIO_DT_SPEC_GET_OR(DT_NODELABEL(bpf_switches), bpf3_gpios, {0});
const struct gpio_dt_spec bpf4Gpio = GPIO_DT_SPEC_GET_OR(DT_NODELABEL(bpf_switches), bpf4_gpios, {0});
const struct gpio_dt_spec hpfGpio  = GPIO_DT_SPEC_GET_OR(DT_NODELABEL(bpf_switches), hpf_gpios, {0});
const struct gpio_dt_spec nhpfGpio = GPIO_DT_SPEC_GET_OR(DT_NODELABEL(bpf_switches), nhpf_gpios, {0});

const struct gpio_dt_spec pwr3V3Gpio = GPIO_DT_SPEC_GET_OR(DT_NODELABEL(power_control), enable_3v3_gpios, {0});

} // namespace

int FrontEndDriver::currentAttenDB = 0;
int FrontEndDriver::currentBpfIndex = 0;
bool FrontEndDriver::currentHpfBypass = false;

void FrontEndDriver::init() {
  LOG_INF("Initializing Front-End Switch Driver (Attenuators & BPF)...");

  // Configure Attenuator GPIOs
  if (device_is_ready(atten3Gpio.port))  gpio_pin_configure_dt(&atten3Gpio, GPIO_OUTPUT_INACTIVE);
  if (device_is_ready(atten6Gpio.port))  gpio_pin_configure_dt(&atten6Gpio, GPIO_OUTPUT_INACTIVE);
  if (device_is_ready(atten12Gpio.port)) gpio_pin_configure_dt(&atten12Gpio, GPIO_OUTPUT_INACTIVE);
  if (device_is_ready(atten24Gpio.port)) gpio_pin_configure_dt(&atten24Gpio, GPIO_OUTPUT_INACTIVE);

  // Configure BPF and HPF GPIOs
  if (device_is_ready(bpf1Gpio.port)) gpio_pin_configure_dt(&bpf1Gpio, GPIO_OUTPUT_INACTIVE);
  if (device_is_ready(bpf2Gpio.port)) gpio_pin_configure_dt(&bpf2Gpio, GPIO_OUTPUT_INACTIVE);
  if (device_is_ready(bpf3Gpio.port)) gpio_pin_configure_dt(&bpf3Gpio, GPIO_OUTPUT_INACTIVE);
  if (device_is_ready(bpf4Gpio.port)) gpio_pin_configure_dt(&bpf4Gpio, GPIO_OUTPUT_INACTIVE);
  if (device_is_ready(hpfGpio.port))  gpio_pin_configure_dt(&hpfGpio, GPIO_OUTPUT_ACTIVE);
  if (device_is_ready(nhpfGpio.port)) gpio_pin_configure_dt(&nhpfGpio, GPIO_OUTPUT_INACTIVE);

  // Configure Power GPIO
  if (device_is_ready(pwr3V3Gpio.port)) {
    gpio_pin_configure_dt(&pwr3V3Gpio, GPIO_OUTPUT_ACTIVE);
    set3V3Power(true);
  }

  setAttenuation(0);
  setHpfBypass(false);
  LOG_INF("Front-End Switch Driver Initialized.");
}

int FrontEndDriver::setAttenuation(int attenDB) {
  int clamped = std::clamp(attenDB, 0, 45);
  int steps = clamped / 3;
  int rounded = steps * 3;

  int remaining = rounded;
  bool use24 = (remaining >= 24);
  if (use24) remaining -= 24;

  bool use12 = (remaining >= 12);
  if (use12) remaining -= 12;

  bool use6 = (remaining >= 6);
  if (use6) remaining -= 6;

  bool use3 = (remaining >= 3);
  if (use3) remaining -= 3;

  if (device_is_ready(atten24Gpio.port)) gpio_pin_set_dt(&atten24Gpio, use24 ? 1 : 0);
  if (device_is_ready(atten12Gpio.port)) gpio_pin_set_dt(&atten12Gpio, use12 ? 1 : 0);
  if (device_is_ready(atten6Gpio.port))  gpio_pin_set_dt(&atten6Gpio, use6 ? 1 : 0);
  if (device_is_ready(atten3Gpio.port))  gpio_pin_set_dt(&atten3Gpio, use3 ? 1 : 0);

  currentAttenDB = rounded;
  LOG_DBG("Front-End Attenuation set to %d dB (24:%d, 12:%d, 6:%d, 3:%d)",
          rounded, use24, use12, use6, use3);
  return rounded;
}

void FrontEndDriver::selectFilterBand(uint32_t freqHz) {
  // AM Broadcast HPF cutoff is 1.75 MHz
  bool bypassHpf = (freqHz < 1750000);
  setHpfBypass(bypassHpf);

  // 4 Octave BPF banks
  int bpf = 0;
  if (freqHz >= 1800000 && freqHz < 3400000) {
    bpf = 1;
  } else if (freqHz >= 3200000 && freqHz < 7500000) {
    bpf = 2;
  } else if (freqHz >= 7300000 && freqHz < 14500000) {
    bpf = 3;
  } else if (freqHz >= 14300000 && freqHz <= 30000000) {
    bpf = 4;
  } else {
    // Outside direct amateur octaves: select nearest
    if (freqHz < 1800000) bpf = 1;
    else bpf = 4;
  }

  setBpfIndex(bpf);
}

void FrontEndDriver::setBpfIndex(int bpfIndex) {
  currentBpfIndex = bpfIndex;

  if (device_is_ready(bpf1Gpio.port)) gpio_pin_set_dt(&bpf1Gpio, (bpfIndex == 1) ? 1 : 0);
  if (device_is_ready(bpf2Gpio.port)) gpio_pin_set_dt(&bpf2Gpio, (bpfIndex == 2) ? 1 : 0);
  if (device_is_ready(bpf3Gpio.port)) gpio_pin_set_dt(&bpf3Gpio, (bpfIndex == 3) ? 1 : 0);
  if (device_is_ready(bpf4Gpio.port)) gpio_pin_set_dt(&bpf4Gpio, (bpfIndex == 4) ? 1 : 0);

  LOG_DBG("Front-End BPF branch selected: %d", bpfIndex);
}

void FrontEndDriver::setHpfBypass(bool bypass) {
  currentHpfBypass = bypass;

  // Active high hpf enables filter, nhpf is inverted
  if (device_is_ready(hpfGpio.port))  gpio_pin_set_dt(&hpfGpio, bypass ? 0 : 1);
  if (device_is_ready(nhpfGpio.port)) gpio_pin_set_dt(&nhpfGpio, bypass ? 1 : 0);

  LOG_DBG("Front-End HPF %s", bypass ? "BYPASSED" : "ENABLED");
}

void FrontEndDriver::set3V3Power(bool enable) {
  if (device_is_ready(pwr3V3Gpio.port)) {
    gpio_pin_set_dt(&pwr3V3Gpio, enable ? 1 : 0);
    LOG_INF("Front-End 3.3V Power Rail %s", enable ? "ENABLED" : "DISABLED");
  }
}

int FrontEndDriver::getAttenuation() {
  return currentAttenDB;
}

int FrontEndDriver::getBpfIndex() {
  return currentBpfIndex;
}

bool FrontEndDriver::isHpfBypassed() {
  return currentHpfBypass;
}

} // namespace nexrx
```

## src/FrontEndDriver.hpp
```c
#pragma once

#include <stdint.h>
#include <zephyr/kernel.h>
#include <zephyr/drivers/gpio.h>

namespace nexrx {

class FrontEndDriver {
public:
  static void init();

  /**
   * @brief Configures step attenuator array (0 to 45 dB in 3 dB steps).
   * @param attenDB Total attenuation requested.
   * @return Actual attenuation applied (clamped and rounded to 3 dB step).
   */
  static int setAttenuation(int attenDB);

  /**
   * @brief Selects the BPF branch and HPF state for the given RF frequency.
   * @param freqHz Center frequency in Hz.
   */
  static void selectFilterBand(uint32_t freqHz);

  /**
   * @brief Directly sets BPF branch (1 to 4) or 0 for bypass.
   * @param bpfIndex BPF branch (1: 1.8-3.4MHz, 2: 3.2-7.5MHz, 3: 7.3-14.5MHz, 4: 14.3-30MHz).
   */
  static void setBpfIndex(int bpfIndex);

  /**
   * @brief Enables or bypasses the broadcast AM high-pass filter.
   * @param bypass True to bypass HPF, false to insert HPF.
   */
  static void setHpfBypass(bool bypass);

  /**
   * @brief Enables or disables the 3.3V main power rail.
   * @param enable True to enable.
   */
  static void set3V3Power(bool enable);

  static int getAttenuation();
  static int getBpfIndex();
  static bool isHpfBypassed();

private:
  static int currentAttenDB;
  static int currentBpfIndex;
  static bool currentHpfBypass;
};

} // namespace nexrx
```
